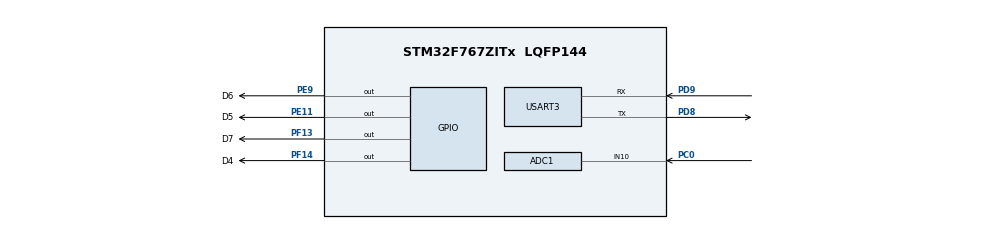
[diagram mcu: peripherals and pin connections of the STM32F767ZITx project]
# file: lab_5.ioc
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ADC1.Channel-0\#ChannelRegularConversion=ADC_CHANNEL_10
ADC1.ContinuousConvMode=ENABLE
ADC1.EOCSelection=ADC_EOC_SEQ_CONV
ADC1.NbrOfConversionFlag=1
ADC1.Rank-0\#ChannelRegularConversion=1
ADC1.SamplingTime-0\#ChannelRegularConversion=ADC_SAMPLETIME_3CYCLES
ADC1.master=1
Mcu.Family=STM32F7
Mcu.Name=STM32F767ZITx
Mcu.Package=LQFP144
NVIC.PriorityGroup=NVIC_PRIORITYGROUP_4
PC0.Signal=ADCx_IN10
PD8.Mode=Asynchronous
PD8.Signal=USART3_TX
PD9.Mode=Asynchronous
PD9.Signal=USART3_RX
PE11.GPIO_Label=D5
PE11.Signal=GPIO_Output
PE9.GPIO_Label=D6
PE9.Signal=GPIO_Output
PF13.GPIO_Label=D7
PF13.Signal=GPIO_Output
PF14.GPIO_Label=D4
PF14.Signal=GPIO_Output
ProjectManager.HeapSize=0x200
ProjectManager.StackSize=0x400
ProjectManager.TargetToolchain=STM32CubeIDE
RCC.HSE_VALUE=25000000
RCC.HSI_VALUE=16000000
RCC.LSE_VALUE=32768
RCC.USBFreq_Value=96000000
RCC.VCOOutputFreq_Value=192000000
SH.ADCx_IN10.0=ADC1_IN10,IN10
USART3.VirtualMode-Asynchronous=VM_ASYNC
board=custom

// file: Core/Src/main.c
/* USER CODE BEGIN Header */
/**
  ******************************************************************************
  * @file           : main.c
  * @brief          : Main program body
  ******************************************************************************
  * @attention
  *
  * <h2><center>&copy; Copyright (c) 2020 STMicroelectronics.
  * All rights reserved.</center></h2>
  *
  * This software component is licensed by ST under BSD 3-Clause license,
  * the "License"; You may not use this file except in compliance with the
  * License. You may obtain a copy of the License at:
  *                        opensource.org/licenses/BSD-3-Clause
  *
  ******************************************************************************
  */
/* USER CODE END Header */

#include "main.h"

/* USER CODE BEGIN Includes */
#include "stdio.h"
/* USER CODE END Includes */

ADC_HandleTypeDef hadc1;

UART_HandleTypeDef huart3;

/* USER CODE BEGIN PV */
volatile uint32_t adc_val = 0;
/* USER CODE END PV */

void SystemClock_Config(void);
static void MX_GPIO_Init(void);
static void MX_ADC1_Init(void);
static void MX_USART3_UART_Init(void);
/* USER CODE BEGIN PFP */
void displayHEX(uint32_t);
void send_str(char*);
/* USER CODE END PFP */

int main(void)
{

  /* MCU Configuration--------------------------------------------------------*/

  /* Reset of all peripherals, Initializes the Flash interface and the Systick. */
  HAL_Init();

  /* Configure the system clock */
  SystemClock_Config();

  /* Initialize all configured peripherals */
  MX_GPIO_Init();
  MX_ADC1_Init();
  MX_USART3_UART_Init();
  /* USER CODE BEGIN 2 */
  HAL_ADC_Start(&hadc1);
  /* USER CODE END 2 */

  /* Infinite loop */
  /* USER CODE BEGIN WHILE */
  while (1)
  {
	  while(HAL_ADC_PollForConversion(&hadc1, 100) != HAL_OK) {}
	  adc_val = HAL_ADC_GetValue(&hadc1);
	  displayHEX(adc_val);
	  levelLED(adc_val);
	  HAL_Delay(400);
    /* USER CODE END WHILE */

  }
}

void SystemClock_Config(void)
{
  RCC_OscInitTypeDef RCC_OscInitStruct = {0};
  RCC_ClkInitTypeDef RCC_ClkInitStruct = {0};
  RCC_PeriphCLKInitTypeDef PeriphClkInitStruct = {0};

  /** Configure the main internal regulator output voltage
  */
  __HAL_RCC_PWR_CLK_ENABLE();
  __HAL_PWR_VOLTAGESCALING_CONFIG(PWR_REGULATOR_VOLTAGE_SCALE3);
  /** Initializes the CPU, AHB and APB busses clocks
  */
  RCC_OscInitStruct.OscillatorType = RCC_OSCILLATORTYPE_HSI;
  RCC_OscInitStruct.HSIState = RCC_HSI_ON;
  RCC_OscInitStruct.HSICalibrationValue = RCC_HSICALIBRATION_DEFAULT;
  RCC_OscInitStruct.PLL.PLLState = RCC_PLL_NONE;
  if (HAL_RCC_OscConfig(&RCC_OscInitStruct) != HAL_OK)
  {
    Error_Handler();
  }
  /** Initializes the CPU, AHB and APB busses clocks
  */
  RCC_ClkInitStruct.ClockType = RCC_CLOCKTYPE_HCLK|RCC_CLOCKTYPE_SYSCLK
                              |RCC_CLOCKTYPE_PCLK1|RCC_CLOCKTYPE_PCLK2;
  RCC_ClkInitStruct.SYSCLKSource = RCC_SYSCLKSOURCE_HSI;
  RCC_ClkInitStruct.AHBCLKDivider = RCC_SYSCLK_DIV1;
  RCC_ClkInitStruct.APB1CLKDivider = RCC_HCLK_DIV1;
  RCC_ClkInitStruct.APB2CLKDivider = RCC_HCLK_DIV1;

  if (HAL_RCC_ClockConfig(&RCC_ClkInitStruct, FLASH_LATENCY_0) != HAL_OK)
  {
    Error_Handler();
  }
  PeriphClkInitStruct.PeriphClockSelection = RCC_PERIPHCLK_USART3;
  PeriphClkInitStruct.Usart3ClockSelection = RCC_USART3CLKSOURCE_PCLK1;
  if (HAL_RCCEx_PeriphCLKConfig(&PeriphClkInitStruct) != HAL_OK)
  {
    Error_Handler();
  }
}

static void MX_ADC1_Init(void)
{

  ADC_ChannelConfTypeDef sConfig = {0};

  /** Configure the global features of the ADC (Clock, Resolution, Data Alignment and number of conversion)
  */
  hadc1.Instance = ADC1;
  hadc1.Init.ClockPrescaler = ADC_CLOCK_SYNC_PCLK_DIV2;
  hadc1.Init.Resolution = ADC_RESOLUTION_12B;
  hadc1.Init.ScanConvMode = ADC_SCAN_DISABLE;
  hadc1.Init.ContinuousConvMode = ENABLE;
  hadc1.Init.DiscontinuousConvMode = DISABLE;
  hadc1.Init.ExternalTrigConvEdge = ADC_EXTERNALTRIGCONVEDGE_NONE;
  hadc1.Init.ExternalTrigConv = ADC_SOFTWARE_START;
  hadc1.Init.DataAlign = ADC_DATAALIGN_RIGHT;
  hadc1.Init.NbrOfConversion = 1;
  hadc1.Init.DMAContinuousRequests = DISABLE;
  hadc1.Init.EOCSelection = ADC_EOC_SEQ_CONV;
  if (HAL_ADC_Init(&hadc1) != HAL_OK)
  {
    Error_Handler();
  }
  /** Configure for the selected ADC regular channel its corresponding rank in the sequencer and its sample time.
  */
  sConfig.Channel = ADC_CHANNEL_10;
  sConfig.Rank = ADC_REGULAR_RANK_1;
  sConfig.SamplingTime = ADC_SAMPLETIME_3CYCLES;
  if (HAL_ADC_ConfigChannel(&hadc1, &sConfig) != HAL_OK)
  {
    Error_Handler();
  }

}

static void MX_USART3_UART_Init(void)
{

  huart3.Instance = USART3;
  huart3.Init.BaudRate = 115200;
  huart3.Init.WordLength = UART_WORDLENGTH_8B;
  huart3.Init.StopBits = UART_STOPBITS_1;
  huart3.Init.Parity = UART_PARITY_NONE;
  huart3.Init.Mode = UART_MODE_TX_RX;
  huart3.Init.HwFlowCtl = UART_HWCONTROL_NONE;
  huart3.Init.OverSampling = UART_OVERSAMPLING_16;
  huart3.Init.OneBitSampling = UART_ONE_BIT_SAMPLE_DISABLE;
  huart3.AdvancedInit.AdvFeatureInit = UART_ADVFEATURE_NO_INIT;
  if (HAL_UART_Init(&huart3) != HAL_OK)
  {
    Error_Handler();
  }

}

static void MX_GPIO_Init(void)
{
  GPIO_InitTypeDef GPIO_InitStruct = {0};

  /* GPIO Ports Clock Enable */
  __HAL_RCC_GPIOC_CLK_ENABLE();
  __HAL_RCC_GPIOF_CLK_ENABLE();
  __HAL_RCC_GPIOE_CLK_ENABLE();
  __HAL_RCC_GPIOD_CLK_ENABLE();

  /*Configure GPIO pin Output Level */
  HAL_GPIO_WritePin(GPIOF, D7_Pin|D4_Pin, GPIO_PIN_RESET);

  /*Configure GPIO pin Output Level */
  HAL_GPIO_WritePin(GPIOE, D6_Pin|D5_Pin, GPIO_PIN_RESET);

  /*Configure GPIO pins : D7_Pin D4_Pin */
  GPIO_InitStruct.Pin = D7_Pin|D4_Pin;
  GPIO_InitStruct.Mode = GPIO_MODE_OUTPUT_PP;
  GPIO_InitStruct.Pull = GPIO_NOPULL;
  GPIO_InitStruct.Speed = GPIO_SPEED_FREQ_LOW;
  HAL_GPIO_Init(GPIOF, &GPIO_InitStruct);

  /*Configure GPIO pins : D6_Pin D5_Pin */
  GPIO_InitStruct.Pin = D6_Pin|D5_Pin;
  GPIO_InitStruct.Mode = GPIO_MODE_OUTPUT_PP;
  GPIO_InitStruct.Pull = GPIO_NOPULL;
  GPIO_InitStruct.Speed = GPIO_SPEED_FREQ_LOW;
  HAL_GPIO_Init(GPIOE, &GPIO_InitStruct);

}

/* USER CODE BEGIN 4 */
void send_str(char* str) {
	while (__HAL_UART_GET_FLAG(&huart3,UART_FLAG_TC)==RESET);
	HAL_UART_Transmit(&huart3,(uint8_t*) str, strlen(str), 1000);
	HAL_Delay(100);
}

void displayHEX(uint32_t num){
	char hex[50];
	sprintf(hex,"ADC1_CH10 0x%08x Vin=%.2f \r\n ", num, (((double)num)/4095.0)*3.3 );
	send_str(hex);
}

void levelLED(uint32_t num){
	if (num < 819){
		HAL_GPIO_WritePin(D7_GPIO_Port, D7_Pin, GPIO_PIN_SET);
		HAL_GPIO_WritePin(D6_GPIO_Port, D6_Pin, GPIO_PIN_SET);
		HAL_GPIO_WritePin(D5_GPIO_Port, D5_Pin, GPIO_PIN_SET);
		HAL_GPIO_WritePin(D4_GPIO_Port, D4_Pin, GPIO_PIN_SET);
	}
	else if (num < 1638) {
		HAL_GPIO_WritePin(D7_GPIO_Port, D7_Pin, GPIO_PIN_RESET);
		HAL_GPIO_WritePin(D6_GPIO_Port, D6_Pin, GPIO_PIN_SET);
		HAL_GPIO_WritePin(D5_GPIO_Port, D5_Pin, GPIO_PIN_SET);
		HAL_GPIO_WritePin(D4_GPIO_Port, D4_Pin, GPIO_PIN_SET);
	}
	else if (num < 2457) {
			HAL_GPIO_WritePin(D7_GPIO_Port, D7_Pin, GPIO_PIN_RESET);
			HAL_GPIO_WritePin(D6_GPIO_Port, D6_Pin, GPIO_PIN_RESET);
			HAL_GPIO_WritePin(D5_GPIO_Port, D5_Pin, GPIO_PIN_SET);
			HAL_GPIO_WritePin(D4_GPIO_Port, D4_Pin, GPIO_PIN_SET);
	}
	else if (num < 3276) {
			HAL_GPIO_WritePin(D7_GPIO_Port, D7_Pin, GPIO_PIN_RESET);
			HAL_GPIO_WritePin(D6_GPIO_Port, D6_Pin, GPIO_PIN_RESET);
			HAL_GPIO_WritePin(D5_GPIO_Port, D5_Pin, GPIO_PIN_RESET);
			HAL_GPIO_WritePin(D4_GPIO_Port, D4_Pin, GPIO_PIN_SET);
	}
	else if (num < 4095) {
			HAL_GPIO_WritePin(D7_GPIO_Port, D7_Pin, GPIO_PIN_RESET);
			HAL_GPIO_WritePin(D6_GPIO_Port, D6_Pin, GPIO_PIN_RESET);
			HAL_GPIO_WritePin(D5_GPIO_Port, D5_Pin, GPIO_PIN_RESET);
			HAL_GPIO_WritePin(D4_GPIO_Port, D4_Pin, GPIO_PIN_RESET);
	}

}
/* USER CODE END 4 */

void Error_Handler(void)
{
}

/************************ (C) COPYRIGHT STMicroelectronics *****END OF FILE****/
